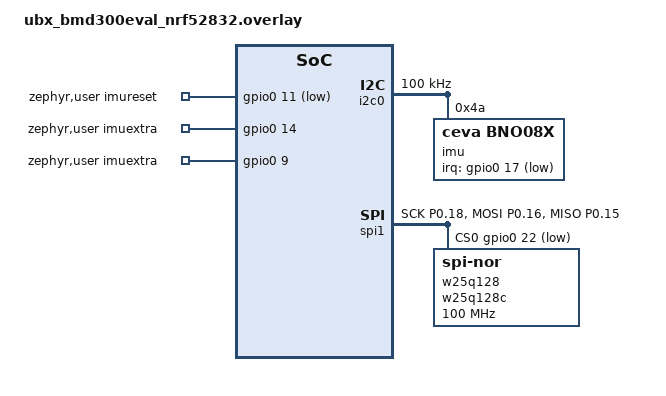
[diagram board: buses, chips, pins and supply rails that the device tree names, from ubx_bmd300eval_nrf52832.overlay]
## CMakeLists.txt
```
cmake_minimum_required(VERSION 3.20.0)

set(CMAKE_CXX_STANDARD 17)
set(CMAKE_CXX_STANDARD_REQUIRED ON)

set(CONFIG_LIB_CPLUSPLUS ON)
set(CONFIG_NEWLIB_LIBC ON)

set(POSEY_TARGET CACHE STRING "Target (EVK or SENSOR)")
set(POSEY_ROLE CACHE STRING "Role (HUB, WATCH, or RING)")

find_package(Zephyr REQUIRED HINTS $ENV{ZEPHYR_BASE})
project(posey-firmware)

add_subdirectory(drivers/sensors/ceva/bno08x)

file(GLOB_RECURSE SRCS_CPP ${CMAKE_SOURCE_DIR}/src/*.cpp)
file(GLOB_RECURSE SRCS_C ${CMAKE_SOURCE_DIR}/src/*.c)
target_sources(app PRIVATE ${SRCS_CPP} ${SRCS_C})
target_include_directories(app PRIVATE
    ${CMAKE_SOURCE_DIR}/src
    ${CMAKE_SOURCE_DIR}/src/posey-lib
    ${CMAKE_SOURCE_DIR}/drivers/sensors/ceva/bno08x)

zephyr_library_include_directories(.)
```

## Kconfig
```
rsource "drivers/sensors/ceva/bno08x/Kconfig"
source "Kconfig.zephyr"

choice
    prompt "Select a project role."
    default ROLE_UNDEFINED

    config ROLE_HUB
         bool "Hub (waist) role"
    config ROLE_WATCH
         bool "Watch role"
    config ROLE_RING
         bool "Ring role"
    config ROLE_UNDEFINED
        bool "Undefined role"
endchoice

choice
    prompt "Set target flash size."
    default FLASH_SIZE_NONE

    config FLASH_SIZE_128Mbit
         bool "128Mbit (16MB) flash"
    config FLASH_SIZE_1Gbit
         bool "1Gbit (128MB) flash"
    config FLASH_SIZE_NONE
         bool "No flash"
endchoice
```

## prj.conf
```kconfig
# Debug enable/disable
# CONFIG_DEBUG_OPTIMIZATIONS=y
# CONFIG_DEBUG_THREAD_INFO=y
# CONFIG_THREAD_NAME=y
# CONFIG_THREAD_ANALYZER=y
# CONFIG_EXCEPTION_STACK_TRACE=y
# CONFIG_DEBUG_COREDUMP=y
# CONFIG_DEBUG_COREDUMP_MEMORY_DUMP_MIN=y
# CONFIG_DEBUG_COREDUMP_BACKEND_LOGGING=y
# CONFIG_DEBUG=y
# CONFIG_DEBUG_INFO=y

CONFIG_STACK_SENTINEL=y

# External XTAL
# CONFIG_CLOCK_CONTROL_NRF_K32SRC_XTAL=y
# CONFIG_CLOCK_CONTROL_NRF_K32SRC_20PPM=y

# Internal RC clock
CONFIG_CLOCK_CONTROL_NRF_K32SRC_RC=y
CONFIG_CLOCK_CONTROL_NRF_K32SRC_500PPM=y

# Enable C++
CONFIG_NEWLIB_LIBC=y
CONFIG_NEWLIB_LIBC_FLOAT_PRINTF=y
CONFIG_CPLUSPLUS=y
CONFIG_LIB_CPLUSPLUS=y

# Enable floating point stuff.
# CONFIG_FPU=y
CONFIG_CBPRINTF_FP_SUPPORT=y

# Enable peripherals in use.
CONFIG_GPIO=y
CONFIG_I2C=y
CONFIG_SENSOR=y
CONFIG_BNO08x=y

# Bigger buffers. We're not doing anything else with all
# that juicy RAM.
CONFIG_HEAP_MEM_POOL_SIZE=2048
# CONFIG_PRIVILEGED_STACK_SIZE=2048
CONFIG_SYSTEM_WORKQUEUE_STACK_SIZE=2048
CONFIG_MAIN_STACK_SIZE=2048
# CONFIG_IDLE_STACK_SIZE=2048
# CONFIG_ISR_STACK_SIZE=2048

# Bluetooth configuration
CONFIG_BT_DEVICE_NAME="Posey Sensor"
CONFIG_BT=y
CONFIG_BT_SMP=y
CONFIG_BT_DEBUG_LOG=n
CONFIG_BT_PERIPHERAL=y
CONFIG_BT_OBSERVER=y
CONFIG_BT_DEVICE_APPEARANCE=1345
CONFIG_BT_MAX_CONN=5
CONFIG_BT_MAX_PAIRED=1

# CONFIG_BT_CTLR_SDC_LLPM=y
CONFIG_BT_CTLR_SDC_SCAN_BUFFER_COUNT=10
# CONFIG_BT_CTLR_PHY_2M=n
CONFIG_BT_CTLR_RX_BUFFERS=10
CONFIG_BT_CTLR_DATA_LENGTH_MAX=251

# CONFIG_BT_RX_STACK_SIZE=1024

CONFIG_BT_BUF_ACL_TX_COUNT=10
CONFIG_BT_BUF_ACL_TX_SIZE=251
CONFIG_BT_BUF_ACL_RX_SIZE=251

# CONFIG_BT_GATT_CLIENT=y
CONFIG_BT_ATT_PREPARE_COUNT=10
# CONFIG_BT_CONN_TX_MAX=10

CONFIG_BT_L2CAP_TX_BUF_COUNT=10
CONFIG_BT_L2CAP_TX_MTU=247
CONFIG_BT_L2CAP_DYNAMIC_CHANNEL=y

CONFIG_BT_GAP_AUTO_UPDATE_CONN_PARAMS=y

# Enable the NUS service
CONFIG_BT_NUS=y

# Enable bonding
CONFIG_BT_SETTINGS=y
CONFIG_FLASH=y
CONFIG_FLASH_PAGE_LAYOUT=y
CONFIG_FLASH_MAP=y
CONFIG_NVS=y
CONFIG_SETTINGS=y

# Disable console.
CONFIG_CONSOLE=n
CONFIG_UART_CONSOLE=n
CONFIG_RTT_CONSOLE=n
CONFIG_STDOUT_CONSOLE=n

CONFIG_PRINTK=n

# Config logger on RTT.
CONFIG_LOG=y
CONFIG_LOG_MODE_DEFERRED=y
CONFIG_USE_SEGGER_RTT=y
CONFIG_LOG_BACKEND_RTT=y
CONFIG_LOG_BACKEND_UART=n
```

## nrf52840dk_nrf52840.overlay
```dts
// To get started, press Ctrl+Space (or Option+Esc) to bring up the completion menu and view the available nodes.

// You can also use the buttons in the sidebar to perform actions on nodes.
// Actions currently available include:

// * Enabling / disabling the node
// * Adding the bus to a bus
// * Removing the node
// * Connecting ADC channels

// For more help, browse the DeviceTree documentation at https: //docs.zephyrproject.org/latest/guides/dts/index.html
// You can also visit the nRF DeviceTree extension documentation at https: //nrfconnect.github.io/vscode-nrf-connect/devicetree/nrfdevicetree.html

/ {
    zephyr,user {
        imureset-gpios = <&gpio0 11 (GPIO_PULL_UP | GPIO_ACTIVE_LOW)>;
    };
};

// Needed for BNO08x driver config. Might need to trace exactly why...
&gpio0 {
    label = "gpio0";
};

&i2c0 {
    compatible = "nordic,nrf-twi";
    status = "okay";
    clock-frequency = <100000>;

    bno08x0: bno08x@4a {
        compatible = "ceva,bno08x";
        label = "imu";
        reg = <0x4a>;
        irq-gpios = <&gpio0 17 (GPIO_ACTIVE_LOW | GPIO_PULL_UP)>;
    };
};
```

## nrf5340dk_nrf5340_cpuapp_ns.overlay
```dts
// To get started, press Ctrl+Space (or Option+Esc) to bring up the completion menu and view the available nodes.

// You can also use the buttons in the sidebar to perform actions on nodes.
// Actions currently available include:

// * Enabling / disabling the node
// * Adding the bus to a bus
// * Removing the node
// * Connecting ADC channels

// For more help, browse the DeviceTree documentation at https: //docs.zephyrproject.org/latest/guides/dts/index.html
// You can also visit the nRF DeviceTree extension documentation at https: //nrfconnect.github.io/vscode-nrf-connect/devicetree/nrfdevicetree.html

&pinctrl {
    i2c0_default: i2c0_default {
        group1 {
            psels = <NRF_PSEL(TWIM_SDA, 1, 2)>,
                    <NRF_PSEL(TWIM_SCL, 1, 3)>;
        };
    };

    i2c0_sleep: i2c0_sleep {
        group1 {
            psels = <NRF_PSEL(TWIM_SDA, 1, 2)>,
                    <NRF_PSEL(TWIM_SCL, 1, 3)>;
            low-power-enable;
        };
    };

    qspi_default: qspi_default {
        group1 {
            psels = <NRF_PSEL(QSPI_SCK, 0, 17)>,
                    <NRF_PSEL(QSPI_IO0, 0, 13)>,
                    <NRF_PSEL(QSPI_IO1, 0, 14)>,
                    <NRF_PSEL(QSPI_IO2, 0, 15)>,
                    <NRF_PSEL(QSPI_IO3, 0, 16)>,
                    <NRF_PSEL(QSPI_CSN, 0, 18)>;
            nordic,drive-mode = <NRF_DRIVE_H0H1>;
        };
        group2 {
            psels = <NRF_PSEL(QSPI_CSN, 0, 18)>;
            bias-pull-up;
        };
    };

    qspi_sleep: qspi_sleep {
        group1 {
            psels = <NRF_PSEL(QSPI_SCK, 0, 17)>,
                    <NRF_PSEL(QSPI_IO0, 0, 13)>,
                    <NRF_PSEL(QSPI_IO1, 0, 14)>,
                    <NRF_PSEL(QSPI_IO2, 0, 15)>,
                    <NRF_PSEL(QSPI_IO3, 0, 16)>;
            low-power-enable;
        };
        group2 {
            psels = <NRF_PSEL(QSPI_CSN, 0, 18)>;
            low-power-enable;
            bias-pull-up;
        };
    };
};

/ {
    zephyr,user {
        io-channels = <&adc 1>;
        imureset-gpios = <&gpio0 8 (GPIO_PULL_UP | GPIO_ACTIVE_LOW)>;
    };
};

&uart0 {
    status = "disabled";
};

&adc {
    status = "okay";
};

&gpiote {
    status = "okay";
};

// Needed for BNO08x driver config. Might need to trace exactly why...
&gpio0 {
    label = "gpio0";
    status = "okay";
};

&gpio1 {
    label = "gpio1";
    status = "okay";
};

&i2c0 {
    compatible = "nordic,nrf-twim";
    status = "okay";
    clock-frequency = <100000>;
    pinctrl-0 = <&i2c0_default>;
    pinctrl-1 = <&i2c0_sleep>;
    pinctrl-names = "default", "sleep";

    bno08x0: bno08x@4a {
        compatible = "ceva,bno08x";
        label = "imu";
        reg = <0x4a>;
        irq-gpios = <&gpio0 10 (GPIO_ACTIVE_LOW | GPIO_PULL_UP)>;
    };
};

&qspi {
    status = "okay";
    pinctrl-0 = <&qspi_default>;
    pinctrl-1 = <&qspi_sleep>;
    pinctrl-names = "default", "sleep";

    w25q01: w25q01jvzeim@0 {
        compatible = "nordic,qspi-nor";
        reg = <0>;
        /* MX25R64 supports only pp and pp4io */
        writeoc = "pp4io";
        /* MX25R64 supports all readoc options */
        readoc = "read4io";
        sck-frequency = <8000000>;
        size = <0x40000000>; // 1 GBit
        has-dpd;
        jedec-id = [ ef 70 21  ];
    };
};
```

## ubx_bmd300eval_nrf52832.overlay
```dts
// To get started, press Ctrl+Space (or Option+Esc) to bring up the completion menu and view the available nodes.
// For more help, browse the DeviceTree documentation at https: //docs.zephyrproject.org/latest/guides/dts/index.html

/ {
	zephyr,user {
		imureset-gpios = <&gpio0 11 (GPIO_PULL_UP | GPIO_ACTIVE_LOW)>;
		imuextra-gpios = <&gpio0 14 (GPIO_PULL_DOWN | GPIO_ACTIVE_HIGH)>,
		                 <&gpio0 9 (GPIO_PULL_DOWN | GPIO_ACTIVE_HIGH)>;
	};

	aliases {
		spi-flash0 = &w25q128;
	};
};

&pinctrl {
	// i2c0_default: i2c0_default {
		//     group1 {
			//         psels = <NRF_PSEL(TWIM_SDA, 0, 12)>,
							   //             <NRF_PSEL(TWIM_SCL, 0, 15)>;
		//     };
	// };

	// i2c0_sleep: i2c0_sleep {
		//     group1 {
			//         psels = <NRF_PSEL(TWIM_SDA, 0, 12)>,
							   //             <NRF_PSEL(TWIM_SCL, 0, 15)>;
			//         low-power-enable;
		//     };
	// };

	spi1_evk_default: spi1_evk_default {
		group1 {
			psels = <NRF_PSEL(SPIM_SCK, 0, 18)>,
			        <NRF_PSEL(SPIM_MOSI, 0, 16)>,
			        <NRF_PSEL(SPIM_MISO, 0, 15)>;
		};
	};

	spi1_evk_sleep: spi1_evk_sleep {
		group1 {
			psels = <NRF_PSEL(SPIM_SCK, 0, 18)>,
			        <NRF_PSEL(SPIM_MOSI, 0, 16)>,
			        <NRF_PSEL(SPIM_MISO, 0, 15)>;
			low-power-enable;
		};
	};
};

// Needed for BNO08x driver config. Might need to trace exactly why...
&gpio0 {
	label = "gpio0";
};

&i2c0 {
	compatible = "nordic,nrf-twi";
	status = "okay";
	clock-frequency = <100000>;

	bno08x0: bno08x@4a {
		compatible = "ceva,bno08x";
		label = "imu";
		reg = <0x4a>;
		irq-gpios = <&gpio0 17 (GPIO_ACTIVE_LOW | GPIO_PULL_UP)>;
	};
};

&spi1 {
	compatible = "nordic,nrf-spi";
	status = "okay";
	pinctrl-0 = <&spi1_evk_default>;
	pinctrl-1 = <&spi1_evk_sleep>;
	pinctrl-names = "default", "sleep";
	cs-gpios = <&gpio0 22 GPIO_ACTIVE_LOW>;

	w25q128: w25q128c@0 {
		compatible = "jedec,spi-nor";
		reg = <0>;
		spi-max-frequency = <100000000>;
		size = <0x8000000>; // 128 MBit
		has-dpd;
		jedec-id = [ ef 40 18  ];
	};
};
```

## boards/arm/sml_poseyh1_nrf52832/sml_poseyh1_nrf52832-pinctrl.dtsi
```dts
&pinctrl {
	i2c0_default: i2c0_default {
		group1 {
			psels = <NRF_PSEL(TWIM_SDA, 0, 12)>,
				<NRF_PSEL(TWIM_SCL, 0, 15)>;
		};
	};

	i2c0_sleep: i2c0_sleep {
		group1 {
			psels = <NRF_PSEL(TWIM_SDA, 0, 12)>,
				<NRF_PSEL(TWIM_SCL, 0, 15)>;
			low-power-enable;
		};
	};

	spi1_default: spi1_default {
		group1 {
			psels = <NRF_PSEL(SPIM_SCK, 0, 3)>,
				<NRF_PSEL(SPIM_MOSI, 0, 5)>,
				<NRF_PSEL(SPIM_MISO, 0, 2)>;
		};
	};

	spi1_sleep: spi1_sleep {
		group1 {
			psels = <NRF_PSEL(SPIM_SCK, 0, 3)>,
				<NRF_PSEL(SPIM_MOSI, 0, 5)>,
				<NRF_PSEL(SPIM_MISO, 0, 2)>;
			low-power-enable;
		};
	};
};
```

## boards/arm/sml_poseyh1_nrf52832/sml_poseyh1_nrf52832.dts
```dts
/dts-v1/;
#include <nordic/nrf52832_ciaa.dtsi>
#include "sml_poseyh1_nrf52832-pinctrl.dtsi"

/ {
	model = "SML Posey-h1 HUB nRF52832";
	compatible = "sml,sml-poseyh1-nrf52832";

	chosen {
		zephyr,sram = &sram0;
		zephyr,flash = &flash0;
		zephyr,code-partition = &slot0_partition;
	};

	zephyr,user {
		io-channels = <&adc 5>;
		imureset-gpios = <&gpio0 17 (GPIO_PULL_UP | GPIO_ACTIVE_LOW)>;
	};

	aliases {
		spi-flash0 = &w25q01;
	};
};

&gpiote {
	status = "okay";
};

// Label needed for BNO08x driver config. Might need to trace
// exactly why...
&gpio0 {
	status = "okay";
	label = "gpio0";
};

&i2c0 {
	compatible = "nordic,nrf-twi";
	status = "okay";
	pinctrl-0 = <&i2c0_default>;
	pinctrl-1 = <&i2c0_sleep>;
	pinctrl-names = "default", "sleep";
    clock-frequency = <100000>;

    bno08x0: bno08x@4a {
        compatible = "ceva,bno08x";
        label = "imu";
        reg = <0x4a>;
        irq-gpios = <&gpio0 16 (GPIO_ACTIVE_LOW | GPIO_PULL_UP)>;
    };
};

&spi1 {
	compatible = "nordic,nrf-spi";
	status = "okay";
	pinctrl-0 = <&spi1_default>;
	pinctrl-1 = <&spi1_sleep>;
	pinctrl-names = "default", "sleep";
	cs-gpios = <&gpio0 4 GPIO_ACTIVE_LOW>;

	w25q01: w25q01jvzeim@0 {
		compatible = "jedec,spi-nor";
		reg = <0>;
		spi-max-frequency = <100000000>;
		size = <0x40000000>; // 1 GBit
		has-dpd;
		jedec-id = [ef 70 21];
	};
};

&adc {
	status = "okay";
	#address-cells = <1>;
	#size-cells = <0>;

	channel@5 {
		reg = <5>;
		zephyr,gain = "ADC_GAIN_1_6";
		zephyr,reference = "ADC_REF_INTERNAL";
		zephyr,acquisition-time = <ADC_ACQ_TIME_DEFAULT>;
		zephyr,input-positive = <NRF_SAADC_AIN5>;
		zephyr,resolution = <12>;
	};
};

&flash0 {
	partitions {
		compatible = "fixed-partitions";
		#address-cells = <1>;
		#size-cells = <1>;

		boot_partition: partition@0 {
			label = "mcuboot";
			reg = <0x0 0xc000>;
		};
		slot0_partition: partition@c000 {
			label = "image-0";
			reg = <0xc000 0x32000>;
		};
		slot1_partition: partition@3e000 {
			label = "image-1";
			reg = <0x3e000 0x32000>;
		};
		scratch_partition: partition@70000 {
			label = "image-scratch";
			reg = <0x70000 0xa000>;
		};
		storage_partition: partition@7a000 {
			label = "storage";
			reg = <0x7a000 0x6000>;
		};
	};
};
```

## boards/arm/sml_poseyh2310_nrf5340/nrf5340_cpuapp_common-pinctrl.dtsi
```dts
 &pinctrl {
     i2c0_default: i2c0_default {
         group1 {
             psels = <NRF_PSEL(TWIM_SDA, 1, 2)>,
                     <NRF_PSEL(TWIM_SCL, 1, 3)>;
         };
     };

     i2c0_sleep: i2c0_sleep {
         group1 {
             psels = <NRF_PSEL(TWIM_SDA, 1, 2)>,
                     <NRF_PSEL(TWIM_SCL, 1, 3)>;
             low-power-enable;
         };
     };

     qspi_default: qspi_default {
         group1 {
             psels = <NRF_PSEL(QSPI_SCK, 0, 17)>,
                     <NRF_PSEL(QSPI_IO0, 0, 13)>,
                     <NRF_PSEL(QSPI_IO1, 0, 14)>,
                     <NRF_PSEL(QSPI_IO2, 0, 15)>,
                     <NRF_PSEL(QSPI_IO3, 0, 16)>,
                     <NRF_PSEL(QSPI_CSN, 0, 18)>;
             nordic,drive-mode = <NRF_DRIVE_H0H1>;
         };
     };

     qspi_sleep: qspi_sleep {
         group1 {
             psels = <NRF_PSEL(QSPI_SCK, 0, 17)>,
                     <NRF_PSEL(QSPI_IO0, 0, 13)>,
                     <NRF_PSEL(QSPI_IO1, 0, 14)>,
                     <NRF_PSEL(QSPI_IO2, 0, 15)>,
                     <NRF_PSEL(QSPI_IO3, 0, 16)>;
             low-power-enable;
         };
         group2 {
             psels = <NRF_PSEL(QSPI_CSN, 0, 18)>;
             low-power-enable;
             bias-pull-up;
         };
     };
 };
```

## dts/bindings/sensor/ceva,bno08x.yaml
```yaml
description: CEVA BNO08x 9DoF IMU

compatible: "ceva,bno08x"

include: i2c-device.yaml

properties:
    irq-gpios:
      # This signal is active low when produced by the sensor
      type: phandle-array
      required: true
```

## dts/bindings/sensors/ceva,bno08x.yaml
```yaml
compatible: "ceva,bno08x"

include: ["spi-device.yaml", "sensor-device.yaml"]

properties:
  int-gpios:
    type: phandle-array
    required: true
    description: |
      This property specifies the connection for the active LOW interrupt.
  reset-gpios:
    type: phandle-array
    required: true
    description: |
      This property specifies the connection for the active LOW hardware reset.
  ps0-gpios:
    type: phandle-array
    required: true
    description: |
      This property specifies the connection for the active HIGH protocol select (PS) pin 0.
  ps1-gpios:
    type: phandle-array
    required: true
    description: |
      This property specifies the connection for the active HIGH protocol select (PS) pin 1.
```

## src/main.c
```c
#include <zephyr.h>
#include <sys/printk.h>

void main(void)
{
	printk("Hello World! Blarg... %s\n", CONFIG_BOARD);
}
```

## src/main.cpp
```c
#include "platform.hpp"

#include <zephyr/sys/reboot.h>
// #include "memfault/core/trace_event.h"

#define LOG_MODULE_NAME posey_main
LOG_MODULE_REGISTER(LOG_MODULE_NAME);

void die(const char* const message) {
    // MEMFAULT_TRACE_EVENT_WITH_LOG(
    //     system_death,
    //     "Message: %s", message);
    LOG_ERR("%s", message);
    LOG_ERR("Waiting 5s then rebooting.");
    Clock::delay_msec(5000);
    sys_reboot(SYS_REBOOT_COLD);
}

int main() {
#if defined(CONFIG_ROLE_HUB)
    TaskWaist task(imu, ble, reader, writer);
    RateTask rtmain(task, 50);
#elif defined(CONFIG_ROLE_WATCH)
    TaskWatch task(imu, writer);
    RateTask rtmain(task, 200);
#elif defined(CONFIG_ROLE_RING)
    TaskRing task();
#endif

    if (!init_platform())
        die("Platform init failed.");

    if (rtmain.setup()) {
        LOG_INF("Setup complete. Entering loop.\n");
        while (true) {
            rtmain.loop();
        }
    } else
        die("rtmain.setup() failed.");
    return 0;
}
```

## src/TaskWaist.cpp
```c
#include "platform.hpp"
#include "platform/config.h"

#include "TaskWaist.hpp"

#include "MessageAck.hpp"

#if defined(CONFIG_LOG)
    #include <zephyr/logging/log.h>
    #include <zephyr/logging/log_ctrl.h>
    #include <zephyr/sys/reboot.h>

    #include "posey-platform/platform/io/NordicNUSDriver.h"
    #include "posey-platform/platform/io/NordicSAADACDriver.h"

    #define LOG_MODULE_NAME posey_task_hub
LOG_MODULE_REGISTER(LOG_MODULE_NAME);
#else
    #define LOG_INF(...) ;
    #define LOG_WRN(...) ;

    #ifdef __cplusplus
extern "C" {
    #endif

int init_nus() {
    return 0;
}

bool init_flash() {
    return true;
}
bool erase_flash(const uint32_t size) {
    return true;
}
bool erase_used_flash() {
    return true;
}
bool erase_all_flash() {
    return true;
}

bool flash_is_logging() {
    return true;
}
void start_flash_logging() {}
void stop_flash_logging() {}

uint32_t flash_log_size();

void process_data(
    void* conn, const uint8_t slot, const uint8_t* data, const uint16_t size);

    #ifdef __cplusplus
}
    #endif

#endif

bool TaskWaist::setup() {
    bool success = imu.setup();
    success &= ble.setup();
    success &= ml.add_listener(cmd);
    return success;
}

void TaskWaist::loop() {
#if defined(CONFIG_ROLE_HUB)
    static const uint32_t max_loop_time = 1e3 / 50;
    static uint32_t iter = 0;

    tm.message.t_start_ms = Clock::get_msec<uint32_t>();

    // // Update sensor data.
    imu.collect();
    ble.collect();  // Does nothing.

    // Serialize data and store to flash.
    imu.serialize();
    process_data(NULL, 0xFA, imu.buffer.get_buffer(), imu.buffer.used());

    BLEData elem;
    while (ble.ring_buffer.read_next(elem)) {
        elem.serialize(ble.buffer);
        process_data(NULL, 0xFA, ble.buffer.get_buffer(), ble.buffer.used());
    }

    // Check for messages. Process everything available, we'll
    // let this task overrun.
    ml.poll(reader);
    while (true) {
        auto mid = ml.process_next();
        if (mid <= -1)
            break;
        process_message(mid);
    }

    // Send task TM at 1Hz.
    static float Vbatt = 0;
    static int lowbat = 0;

    Vbatt += read_Vbatt();
    if (iter % 50 == 0) {
        Vbatt /= 50.0;

        if (Vbatt < 3.3) {
            LOG_WRN("LOW Average Vbat: %.2f V", Vbatt);
            if (lowbat++ >= 1000) {
                LOG_ERR(
                    "Low battery: %.2f V! Sleeping for 5 minutes...", Vbatt);

                // Flush the log buffer before rebooting.
                if (IS_ENABLED(CONFIG_LOG_MODE_DEFERRED))
                    while (log_process())
                        ;

                // Disable scanning and close connections.
                disable_scanning();
                close_connections();

                deep_sleep();

                // Reboot to start fresh scanning.
                LOG_INF("Rebooting...");
                sys_reboot(SYS_REBOOT_COLD);
                lowbat = 0;
            }
        } else {
            // With normal voltages only log every 10s so it's not annoying.
            if (iter % (50 * 10) == 0)
                LOG_INF("NORMAL Average Vbat: %.2f V", Vbatt);
            lowbat = 0;
        }

        if (Vbatt < 3.2)
            Vbatt = 3.2;
        if (Vbatt > 4.2)
            Vbatt = 4.2;
        tm.message.Vbatt = (read_Vbatt() - 3.2) / 4.2 * 255;
        tm.message.ble_throughput = num_connected_sensors();
        tm.serialize();
        writer.write(tm.buffer, writer.SendNow);
        process_data(NULL, 0xFA, tm.buffer.get_buffer(), tm.buffer.used());
    }
    ++iter;

    // Update missed deadlines if needed.
    tm.message.t_end_ms = Clock::get_msec<uint32_t>();
    if (tm.message.t_end_ms - tm.message.t_start_ms > max_loop_time) {
        tm.message.missed_deadline++;
    }
#endif
}

bool TaskWaist::send_log_data() {
#if defined(CONFIG_ROLE_HUB)
    static constexpr uint16_t nus_buffer_size = 244;
    static uint8_t buffer[nus_buffer_size];
    uint32_t log_size = flash_log_size();
    int32_t to_send = log_size;
    LOG_INF(
        "Starting download of %d bytes, %.2f MB", to_send,
        to_send / 1024.0 / 1024.0);
    uint32_t cursor = 0;
    int iter = 0;
    struct bt_conn* pc_conn = get_pc_connection();
    if (!pc_conn) {
        LOG_ERR("PC seems to have been disconnected.");
        return false;
    }
    uint32_t t0 = Clock::get_msec<uint32_t>();
    uint32_t b0 = 0;
    while (to_send > 0) {
        to_send -= nus_buffer_size;
        uint32_t send_size = nus_buffer_size;
        if (to_send < 0)
            send_size += to_send;
        uint32_t read_size = read_flash(cursor, buffer, send_size);
        cursor += read_size;
        if (read_size != send_size) {
            LOG_ERR(
                "Read only %d of %d bytes! Bailing download.", read_size,
                send_size);
            return false;
        }
        int rc = bt_nus_send(pc_conn, buffer, send_size);
        if (rc != 0) {
            LOG_ERR("Failed to send NUS buffer! %d", rc);
            return false;
        }
        // Clock::delay_msec(10);

        if ((iter++ % 1000) == 0) {
            uint32_t t1 = Clock::get_msec<uint32_t>();
            uint32_t b1 = cursor;
            LOG_INF(
                "Left to send: %.2f of %.2f MB (%.2f%%, %.2f KBps)",
                to_send / 1024.0 / 1024.0, log_size / 1024.0 / 1024.0,
                100.0 * to_send / log_size,
                (b1 - b0) / 1024.0 / (t1 - t0) * 1000.0);
            b0 = b1;
            t0 = t1;
        }
    }

    LOG_INF("Finished download!");
#endif
    return true;
}

void TaskWaist::process_message(const uint16_t mid) {
#if defined(CONFIG_ROLE_HUB)
    bool invalid_checksum = false;

    // Command message?
    if (mid == Command::message_id) {
        // Extract command.
        if (cmd.valid_checksum()) {
            auto& msg = cmd.deserialize();
            if ((msg.command == Command::StartCollecting) ||
                (msg.command == Command::DownloadData) ||
                (msg.command == Command::FullFlashErase)) {
                cmd.message.ack = MessageAck::Working;
            } else
                cmd.message.ack = MessageAck::OK;
            cmd.serialize();
            writer.write(cmd, writer.SendNow);
            Clock::delay_msec(500);

            LOG_INF("Received %s command", msg.command_str());
            LOG_INF(
                "  - Logging to flash? %s", flash_is_logging() ? "YES" : "NO");

            // Need to stop logging?
            bool need_to_stop_logging =
                (msg.command == Command::Reboot) ||
                (msg.command == Command::DownloadData) ||
                (msg.command == Command::StopCollecting) ||
                (msg.command == Command::FullFlashErase);
            if (need_to_stop_logging && flash_is_logging()) {
                stop_flash_logging();
                config_update_data_end_ms(Clock::get_msec<uint32_t>());
                Clock::delay_msec(1000);
                refresh_device_config();
            }

            // Handle command.
            switch (msg.command) {
                case Command::NoOp:
                    LOG_WRN("No operation!");
                    break;

                case Command::Reboot:
                    LOG_INF("Waiting 5s then rebooting.");
                    Clock::delay_msec(5000);
                    sys_reboot(SYS_REBOOT_COLD);
                    break;

                case Command::GetDataSummary:
                    // Send data summary.
                    refresh_device_config();
                    memcpy(
                        tm_data_summary.message.datetime, device_config.data_dt,
                        DataSummary::MaxDatetimeSize);
                    tm_data_summary.message.start_ms =
                        device_config.data_start_ms;
                    tm_data_summary.message.end_ms = device_config.data_end_ms;
                    tm_data_summary.message.bytes = device_config.data_end;

                    LOG_INF("Sending summary packet.");
                    tm_data_summary.serialize();
                    writer.write(tm_data_summary, writer.SendNow);

                    break;

                case Command::DownloadData:
                    // Disable sensors.
                    disable_sensors();

                    // Send data.
                    LOG_INF("Initiating data download.");
                    cmd.message.ack = MessageAck::OK;

                    // Send out all flash data.
                    if (!send_log_data())
                        cmd.message.ack = MessageAck::Error;

                    // Reenable sensors.
                    enable_sensors();

                    // Send message indicating we're finished.
                    cmd.serialize();
                    writer.write(cmd, writer.SendNow);

                    break;

                case Command::FullFlashErase:
                    // Reset all FLASH.
                    LOG_INF("Erasing ALL flash, might take a bit...");
                    erase_all_flash();

                    // Send ack.
                    cmd.message.ack = MessageAck::OK;
                    cmd.serialize();
                    writer.write(cmd, writer.SendNow);

                    break;

                case Command::StartCollecting:
                    // Initiate logging start.
                    cmd.message.payload[DataSummary::MaxDatetimeSize - 1] = 0;
                    config_update_data_dt(
                        reinterpret_cast<const char*>(cmd.message.payload));
                    config_update_data_end_ms(0);
                    config_update_data_start_ms(Clock::get_msec<uint32_t>());
                    config_update_data_end(0);
                    refresh_device_config();
                    memcpy(
                        tm_data_summary.message.datetime, device_config.data_dt,
                        DataSummary::MaxDatetimeSize);

                    // Reset FLASH.
                    LOG_INF("Erasing flash, might take a bit...");
                    erase_used_flash();

                    // Start collection.
                    LOG_INF("Starting collection at...");
                    start_flash_logging();

                    // Send ack.
                    cmd.message.ack = MessageAck::OK;
                    cmd.serialize();
                    writer.write(cmd, writer.SendNow);

                    break;

                case Command::StopCollecting:
                    // Don't need to do anything.
                    break;

                case Command::Configure:
                case Command::ConnectPeripheral:
                    LOG_WRN("Not implemented.");
                    break;
                default:
                    LOG_WRN("Unknown command");
                    break;
            }

            LOG_INF(
                "  - Still to flash? %s; Data end: %d",
                flash_is_logging() ? "YES" : "NO", device_config.data_end);
        } else {
            invalid_checksum = true;
            cmd.message.ack = MessageAck::Resend;
            cmd.serialize();
            writer.write(cmd, writer.SendNow);
        }
    }

    // Invalid checksum?
    if (invalid_checksum) {
        tm.message.invalid_checksum++;
    }
#endif
}
```

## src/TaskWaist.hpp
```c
#pragma once

#include "MessageID.hpp"

#include "platform/BaseTask.hpp"
#include "platform/sensors/BaseBLE.hpp"
#include "platform/sensors/BaseIMU.hpp"

#include "platform/io/BaseMessageReader.hpp"
#include "platform/io/BaseMessageWriter.hpp"
#include "platform/io/BufferMessagePair.hpp"
#include "platform/io/MessageListener.hpp"

#include "platform/hardware/PeripheralConnection.hpp"

#include "control/Command.hpp"
#include "control/DataSummary.hpp"

#include "TaskWaistTelemetry.hpp"

class TaskWaist : public BaseTask {
    public:
        TaskWaist(
            BaseIMU& imu,
            BaseBLE& ble,
            BaseMessageReader& reader,
            BaseMessageWriter& writer)
            : imu(imu), ble(ble), reader(reader), writer(writer) {}

        bool setup() override;
        void loop() override;

    protected:
        void process_message(const uint16_t mid);
        bool send_log_data();

    protected:
        BaseIMU& imu;
        BaseBLE& ble;

        // PeripheralConnection peripherals[4];

        BaseMessageReader& reader;
        BaseMessageWriter& writer;
        MessageListener<1, 200> ml;

        // Messages handled.
        BufferMessagePair<TaskWaistTelemetry> tm;
        BufferMessagePair<DataSummary> tm_data_summary;
        BufferMessagePair<Command> cmd;  // <->
};
```

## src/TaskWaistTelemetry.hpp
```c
#pragma once

#include "MessageID.hpp"

#include "platform/hardware/PeripheralConnection.hpp"
#include "platform/io/BufferSerializer.hpp"

class TaskWaistTelemetry {
    public:
        static constexpr uint8_t message_id = MessageID::TaskWaist;
        static constexpr uint16_t MessageSize = 1        // Message ID
                                                + 4 * 2  // Times
                                                + 1 * 1  // Invalid checksum
                                                + 1 * 1  // Missed deadline
                                                + 1 * 1  // Battery voltage
                                                + 4      // BLE throughput
            ;
        typedef BufferSerializer<MessageSize> Buffer;

    public:
        void serialize(Buffer& buffer) const {
            static auto message_id = this->message_id;
            buffer.reset();
            buffer.write_syncword()
                .write(message_id)
                .write(t_start_ms)
                .write(t_end_ms)
                .write(invalid_checksum)
                .write(missed_deadline)
                .write(Vbatt)
                .write(ble_throughput)
                .write_checksum();
        }

        bool deserialize(Buffer& buffer) {
            buffer.rewind();
            buffer.read<uint16_t>();  // Syncword.
            buffer.read<uint8_t>();   // Message ID.
            buffer.read(t_start_ms)
                .read(t_end_ms)
                .read(invalid_checksum)
                .read(missed_deadline)
                .read(Vbatt)
                .read(ble_throughput);
            // Checksum.
            return true;
        }

    public:
        uint32_t t_start_ms = 0;
        uint32_t t_end_ms = 0;

        uint8_t invalid_checksum = 0;
        uint8_t missed_deadline = 0;

        uint8_t Vbatt = 0;
        uint32_t ble_throughput = 0;
};
```

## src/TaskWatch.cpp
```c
#include "platform.hpp"

#include "TaskWatch.hpp"

#include <zephyr/logging/log.h>
#include <zephyr/logging/log_ctrl.h>
#include <zephyr/sys/reboot.h>

#include "posey-platform/platform/io/NordicNUSDriver.h"
#include "posey-platform/platform/io/NordicSAADACDriver.h"

#define LOG_MODULE_NAME posey_task_watch
LOG_MODULE_REGISTER(LOG_MODULE_NAME);

static constexpr float freq = 200;
static constexpr uint32_t freqi = (uint32_t)freq;

bool TaskWatch::setup() {
    bool success = imu.setup();
    return success;
}

void TaskWatch::loop() {
    static uint32_t loop_time = 1.0e3 / freq;
    static uint32_t iter = 0;

    tm.message.t_start_ms = Clock::get_msec<uint32_t>();

    // Update sensor data.
    imu.collect();

    // Send sensor telemetry.
    imu.write_telemetry(writer);

    static float Vbatt = 0;
    static int lowbat = 0;

#if defined(CONFIG_LOG)
    Vbatt += read_Vbatt(false);
    if (iter % freqi == 0) {
        Vbatt /= freq * 1.0;

        read_Vbatt(true);

        if (Vbatt < 3.3) {
            LOG_WRN("LOW Average Vbat: %.2f V", Vbatt);
            if (lowbat++ >= (int)(freq * 60 * 1)) {
                LOG_ERR(
                    "Low battery: %.2f V! Sleeping for 5 minutes...", Vbatt);

                // Flush the log buffer before rebooting.
                if (IS_ENABLED(CONFIG_LOG_MODE_DEFERRED))
                    while (log_process())
                        ;

                // Disable scanning and close connections.
                disable_scanning();
                close_connections();

                deep_sleep();

                // Reboot to start fresh scanning.
                LOG_INF("Rebooting...");
                sys_reboot(SYS_REBOOT_COLD);
                lowbat = 0;
            }
        } else {
            // With normal voltages only log every 10s so it's not annoying.
            if (iter % (freqi * 10) == 0)
                LOG_INF("NORMAL Average Vbat: %.2f V", Vbatt);
            lowbat = 0;
        }

        if (Vbatt < 3.2)
            Vbatt = 3.2;
        if (Vbatt > 4.2)
            Vbatt = 4.2;
        tm.message.Vbatt = (read_Vbatt(false) - 3.2) / 4.2 * 255;
        tm.serialize();
        writer.write(tm.buffer, writer.SendNow);
    }
#endif
    ++iter;

    tm.message.t_end_ms = Clock::get_msec<uint32_t>();
    if (tm.message.t_end_ms - tm.message.t_start_ms > loop_time) {
        tm.message.missed_deadline++;
    }
}
```

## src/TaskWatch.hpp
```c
#pragma once

#include "MessageID.hpp"

#include "platform/BaseTask.hpp"
#include "platform/sensors/BaseIMU.hpp"

#include "platform/io/BaseMessageWriter.hpp"
#include "platform/io/BufferMessagePair.hpp"

#include "TaskWatchTelemetry.hpp"

class TaskWatch : public BaseTask {
    public:
        TaskWatch(BaseIMU& imu, BaseMessageWriter& writer)
            : imu(imu), writer(writer) {}

        bool setup() override;
        void loop() override;

    protected:
        void process_message(const uint16_t mid);

    protected:
        BaseIMU& imu;

        BaseMessageWriter& writer;

        // Messages handled.
        BufferMessagePair<TaskWatchTelemetry> tm;
};
```

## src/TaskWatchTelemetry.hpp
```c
#pragma once

#include "MessageID.hpp"

#include "platform/io/BufferSerializer.hpp"

class TaskWatchTelemetry {
    public:
        static constexpr uint8_t message_id = MessageID::TaskWatch;
        static constexpr uint16_t MessageSize = 1        // Message ID
                                                + 4 * 2  // Times
                                                + 1 * 1  // Invalid checksum
                                                + 1 * 1  // Missed deadline
                                                + 1 * 1  // Battery voltage.
            ;
        typedef BufferSerializer<MessageSize> Buffer;

    public:
        void serialize(Buffer& buffer) const {
            static auto message_id = this->message_id;
            buffer.reset();
            buffer.write_syncword()
                .write(message_id)
                .write(t_start_ms)
                .write(t_end_ms)
                .write(invalid_checksum)
                .write(missed_deadline)
                .write(Vbatt)
                .write_checksum();
        }

        bool deserialize(Buffer& buffer) {
            buffer.rewind();
            buffer.read<uint16_t>();  // Syncword.
            buffer.read<uint8_t>();   // Message ID.
            buffer.read(t_start_ms)
                .read(t_end_ms)
                .read(invalid_checksum)
                .read(missed_deadline)
                .read(Vbatt);
            // Checksum.
            return true;
        }

    public:
        uint32_t t_start_ms = 0;
        uint32_t t_end_ms = 0;

        uint8_t invalid_checksum = 0;
        uint8_t missed_deadline = 0;

        uint8_t Vbatt = 0;
};
```

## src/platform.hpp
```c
#pragma once

#include "posey-platform/ZephyrPlatform.hpp"
```
